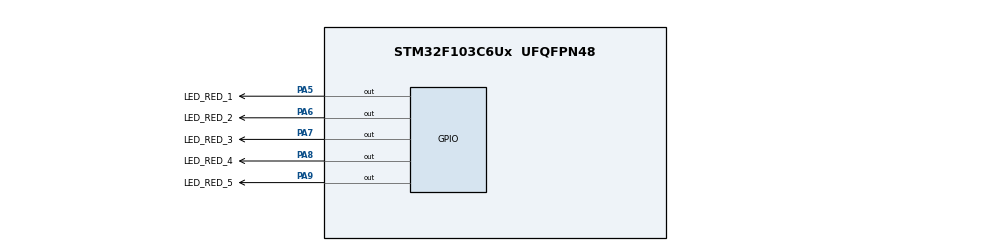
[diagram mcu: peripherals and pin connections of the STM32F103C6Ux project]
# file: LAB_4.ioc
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Mcu.Family=STM32F1
Mcu.Name=STM32F103C6Ux
Mcu.Package=UFQFPN48
NVIC.PriorityGroup=NVIC_PRIORITYGROUP_4
NVIC.TIM2_IRQn=true\:0\:0\:false\:false\:true\:true\:true
PA5.GPIO_Label=LED_RED_1
PA5.Signal=GPIO_Output
PA6.GPIO_Label=LED_RED_2
PA6.Signal=GPIO_Output
PA7.GPIO_Label=LED_RED_3
PA7.Signal=GPIO_Output
PA8.GPIO_Label=LED_RED_4
PA8.Signal=GPIO_Output
PA9.GPIO_Label=LED_RED_5
PA9.Signal=GPIO_Output
ProjectManager.HeapSize=0x200
ProjectManager.StackSize=0x400
ProjectManager.TargetToolchain=STM32CubeIDE
RCC.APB1Freq_Value=8000000
RCC.APB2Freq_Value=8000000
TIM2.Period=9
TIM2.Prescaler=7999
VP_SYS_VS_ND.Mode=No_Debug
VP_TIM2_VS_ClockSourceINT.Mode=Internal
board=custom

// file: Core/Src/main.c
/* USER CODE BEGIN Header */
/**
  ******************************************************************************
  * @file           : main.c
  * @brief          : Main program body
  ******************************************************************************
  * @attention
  *
  * <h2><center>&copy; Copyright (c) 2023 STMicroelectronics.
  * All rights reserved.</center></h2>
  *
  * This software component is licensed by ST under BSD 3-Clause license,
  * the "License"; You may not use this file except in compliance with the
  * License. You may obtain a copy of the License at:
  *                        opensource.org/licenses/BSD-3-Clause
  *
  ******************************************************************************
  */
/* USER CODE END Header */
#include "main.h"

/* USER CODE BEGIN Includes */
#include "scheduler.h"
/* USER CODE END Includes */

TIM_HandleTypeDef htim2;

void SystemClock_Config(void);
static void MX_GPIO_Init(void);
static void MX_TIM2_Init(void);

/* USER CODE BEGIN 0 */
void clearLED(void){ // Off
	HAL_GPIO_WritePin(LED_RED_1_GPIO_Port, LED_RED_1_Pin, SET);
	HAL_GPIO_WritePin(LED_RED_2_GPIO_Port, LED_RED_2_Pin, SET);
	HAL_GPIO_WritePin(LED_RED_3_GPIO_Port, LED_RED_3_Pin, SET);
	HAL_GPIO_WritePin(LED_RED_4_GPIO_Port, LED_RED_4_Pin, SET);
	HAL_GPIO_WritePin(LED_RED_5_GPIO_Port, LED_RED_5_Pin, SET);
}

void task1(void){
	HAL_GPIO_TogglePin(LED_RED_1_GPIO_Port, LED_RED_1_Pin);
}

void task2(void){
	HAL_GPIO_TogglePin(LED_RED_2_GPIO_Port, LED_RED_2_Pin);
}

void task3(void){
	HAL_GPIO_TogglePin(LED_RED_3_GPIO_Port, LED_RED_3_Pin);
}

void task4(void){
	HAL_GPIO_TogglePin(LED_RED_4_GPIO_Port, LED_RED_4_Pin);
}

void task5(void){
	HAL_GPIO_TogglePin(LED_RED_5_GPIO_Port, LED_RED_5_Pin);
}
/* USER CODE END 0 */

int main(void)
{

  /* MCU Configuration--------------------------------------------------------*/

  /* Reset of all peripherals, Initializes the Flash interface and the Systick. */
  HAL_Init();

  /* Configure the system clock */
  SystemClock_Config();

  /* Initialize all configured peripherals */
  MX_GPIO_Init();
  MX_TIM2_Init();
  /* USER CODE BEGIN 2 */
HAL_TIM_Base_Start_IT(&htim2);

  /* USER CODE END 2 */

  /* Infinite loop */
  /* USER CODE BEGIN WHILE */
clearLED();
SCH_Init();
SCH_Add_Task(task1, 0, 1000);
SCH_Add_Task(task2, 0, 2000);
SCH_Add_Task(task3, 0, 3000);
SCH_Add_Task(task4, 0, 4000);
	// one shot task
SCH_Add_Task(task5, 5000, 0);
  while (1)
  {
    /* USER CODE END WHILE */
	  SCH_Dispatch_Tasks();
  }
}

void SystemClock_Config(void)
{
  RCC_OscInitTypeDef RCC_OscInitStruct = {0};
  RCC_ClkInitTypeDef RCC_ClkInitStruct = {0};

  /** Initializes the RCC Oscillators according to the specified parameters
  * in the RCC_OscInitTypeDef structure.
  */
  RCC_OscInitStruct.OscillatorType = RCC_OSCILLATORTYPE_HSI;
  RCC_OscInitStruct.HSIState = RCC_HSI_ON;
  RCC_OscInitStruct.HSICalibrationValue = RCC_HSICALIBRATION_DEFAULT;
  RCC_OscInitStruct.PLL.PLLState = RCC_PLL_NONE;
  if (HAL_RCC_OscConfig(&RCC_OscInitStruct) != HAL_OK)
  {
    Error_Handler();
  }
  /** Initializes the CPU, AHB and APB buses clocks
  */
  RCC_ClkInitStruct.ClockType = RCC_CLOCKTYPE_HCLK|RCC_CLOCKTYPE_SYSCLK
                              |RCC_CLOCKTYPE_PCLK1|RCC_CLOCKTYPE_PCLK2;
  RCC_ClkInitStruct.SYSCLKSource = RCC_SYSCLKSOURCE_HSI;
  RCC_ClkInitStruct.AHBCLKDivider = RCC_SYSCLK_DIV1;
  RCC_ClkInitStruct.APB1CLKDivider = RCC_HCLK_DIV1;
  RCC_ClkInitStruct.APB2CLKDivider = RCC_HCLK_DIV1;

  if (HAL_RCC_ClockConfig(&RCC_ClkInitStruct, FLASH_LATENCY_0) != HAL_OK)
  {
    Error_Handler();
  }
}

static void MX_TIM2_Init(void)
{

  TIM_ClockConfigTypeDef sClockSourceConfig = {0};
  TIM_MasterConfigTypeDef sMasterConfig = {0};

  htim2.Instance = TIM2;
  htim2.Init.Prescaler = 7999;
  htim2.Init.CounterMode = TIM_COUNTERMODE_UP;
  htim2.Init.Period = 9;
  htim2.Init.ClockDivision = TIM_CLOCKDIVISION_DIV1;
  htim2.Init.AutoReloadPreload = TIM_AUTORELOAD_PRELOAD_DISABLE;
  if (HAL_TIM_Base_Init(&htim2) != HAL_OK)
  {
    Error_Handler();
  }
  sClockSourceConfig.ClockSource = TIM_CLOCKSOURCE_INTERNAL;
  if (HAL_TIM_ConfigClockSource(&htim2, &sClockSourceConfig) != HAL_OK)
  {
    Error_Handler();
  }
  sMasterConfig.MasterOutputTrigger = TIM_TRGO_RESET;
  sMasterConfig.MasterSlaveMode = TIM_MASTERSLAVEMODE_DISABLE;
  if (HAL_TIMEx_MasterConfigSynchronization(&htim2, &sMasterConfig) != HAL_OK)
  {
    Error_Handler();
  }

}

static void MX_GPIO_Init(void)
{
  GPIO_InitTypeDef GPIO_InitStruct = {0};

  /* GPIO Ports Clock Enable */
  __HAL_RCC_GPIOA_CLK_ENABLE();

  /*Configure GPIO pin Output Level */
  HAL_GPIO_WritePin(GPIOA, LED_RED_1_Pin|LED_RED_2_Pin|LED_RED_3_Pin|LED_RED_4_Pin
                          |LED_RED_5_Pin, GPIO_PIN_RESET);

  /*Configure GPIO pins : LED_RED_1_Pin LED_RED_2_Pin LED_RED_3_Pin LED_RED_4_Pin
                           LED_RED_5_Pin */
  GPIO_InitStruct.Pin = LED_RED_1_Pin|LED_RED_2_Pin|LED_RED_3_Pin|LED_RED_4_Pin
                          |LED_RED_5_Pin;
  GPIO_InitStruct.Mode = GPIO_MODE_OUTPUT_PP;
  GPIO_InitStruct.Pull = GPIO_NOPULL;
  GPIO_InitStruct.Speed = GPIO_SPEED_FREQ_LOW;
  HAL_GPIO_Init(GPIOA, &GPIO_InitStruct);

}

/* USER CODE BEGIN 4 */
void HAL_TIM_PeriodElapsedCallback(TIM_HandleTypeDef *htim) {
	SCH_Update();
}
/* USER CODE END 4 */

void Error_Handler(void)
{
  __disable_irq();
  while (1)
  {
  }
}

/************************ (C) COPYRIGHT STMicroelectronics *****END OF FILE****/
